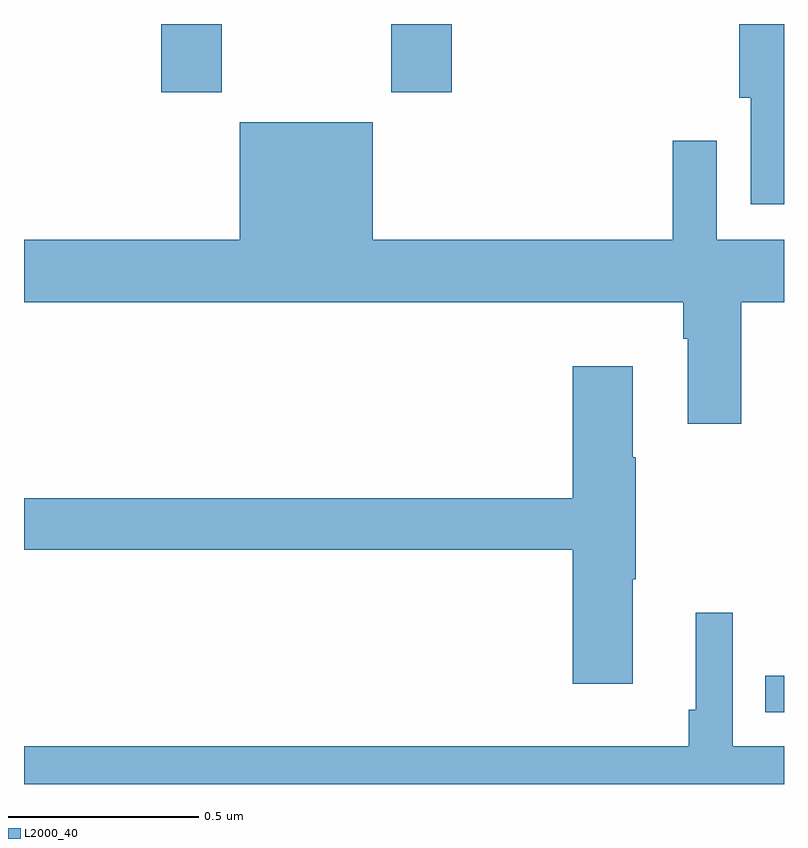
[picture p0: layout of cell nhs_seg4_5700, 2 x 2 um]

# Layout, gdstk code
import gdstk
lib = gdstk.Library(unit=1e-6, precision=1e-09)
def R(c, l, rs):  # rectangles x0, y0, x1, y1
    for r in rs: c.add(gdstk.rectangle(r[:2], r[2:], *l))
def P(c, l, *ps):  # polygons
    for p in ps: c.add(gdstk.Polygon(p, *l))
L2000_40 = (2000, 40)

nhs_seg4_5700 = lib.new_cell('nhs_seg4_5700')
R(nhs_seg4_5700, L2000_40, [(182.95,781.089,183,781.185), (181.361,782.721,181.521,782.9), (181.966,782.721,182.126,782.9)])
P(nhs_seg4_5700, L2000_40, [(183,782.9),(182.882,782.9),(182.882,782.706),(182.912,782.706),(182.912,782.426),(183,782.426)],
  [(182.887,782.168),(183,782.168),(183,782.332),(182.823,782.332),(182.823,782.593),(182.707,782.593),(182.707,782.332),(181.918,782.332),(181.918,782.641),(181.568,782.641),(181.568,782.332),(181,782.332),(181,782.168),(182.735,782.168),(182.735,782.072),(182.747,782.072),(182.747,781.848),(182.887,781.848)],
  [(182.602,781.439),(182.61,781.439),(182.61,781.76),(182.602,781.76),(182.602,781.999),(182.444,781.999),(182.444,781.652),(181,781.652),(181,781.516),(182.444,781.516),(182.444,781.164),(182.602,781.164)],
  [(183,781),(182.865,781),(182.865,781.351),(182.768,781.351),(182.768,781.096),(182.749,781.096),(182.749,781),(181,781),(181,780.9),(183,780.9)])

lib.write_gds('nhs_seg4_5700.gds')
